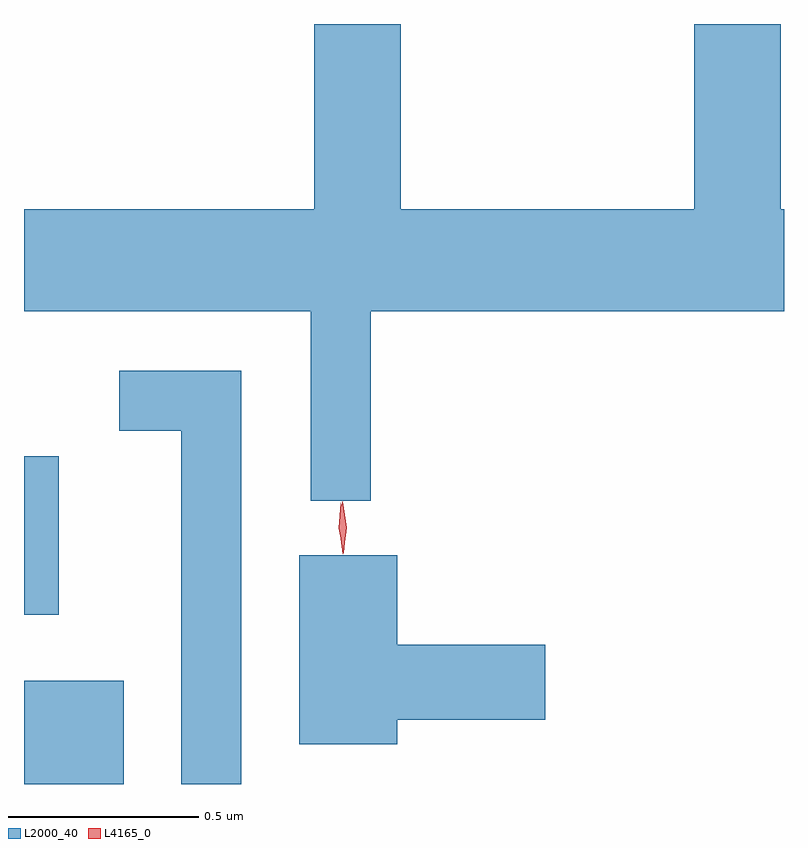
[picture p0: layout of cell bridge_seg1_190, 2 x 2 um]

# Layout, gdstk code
import gdstk
lib = gdstk.Library(unit=1e-6, precision=1e-09)
def R(c, l, rs):  # rectangles x0, y0, x1, y1
    for r in rs: c.add(gdstk.rectangle(r[:2], r[2:], *l))
def P(c, l, *ps):  # polygons
    for p in ps: c.add(gdstk.Polygon(p, *l))
L2000_40 = (2000, 40)
L4165_0 = (4165, 0)

bridge_seg1_190 = lib.new_cell('bridge_seg1_190')
R(bridge_seg1_190, L2000_40, [(810.962,918.312,811.224,918.584), (810.962,918.758,811.054,919.174)])
P(bridge_seg1_190, L2000_40, [(811.874,919.556),(812.962,919.556),(812.962,919.824),(812.954,919.824),(812.954,920.312),(812.726,920.312),(812.726,919.824),(811.954,919.824),(811.954,920.312),(811.726,920.312),(811.726,919.824),(810.962,919.824),(810.962,919.556),(811.716,919.556),(811.716,919.058),(811.874,919.058)],
  [(811.534,919.399),(811.213,919.399),(811.213,919.241),(811.376,919.241),(811.376,918.312),(811.534,918.312)],
  [(811.944,918.481),(812.334,918.481),(812.334,918.679),(811.944,918.679),(811.944,918.914),(811.686,918.914),(811.686,918.416),(811.944,918.416)])
P(bridge_seg1_190, L4165_0, [(811.804,918.92),(811.803,918.921),(811.79,918.985),(811.796,919.051),(811.796,919.052),(811.796,919.051),(811.81,918.987),(811.804,918.921)],
  [(811.801,918.918),(811.801,918.918),(811.791,918.986),(811.8,919.055),(811.801,919.055),(811.801,919.055),(811.811,918.986),(811.802,918.918)])

lib.write_gds('bridge_seg1_190.gds')
